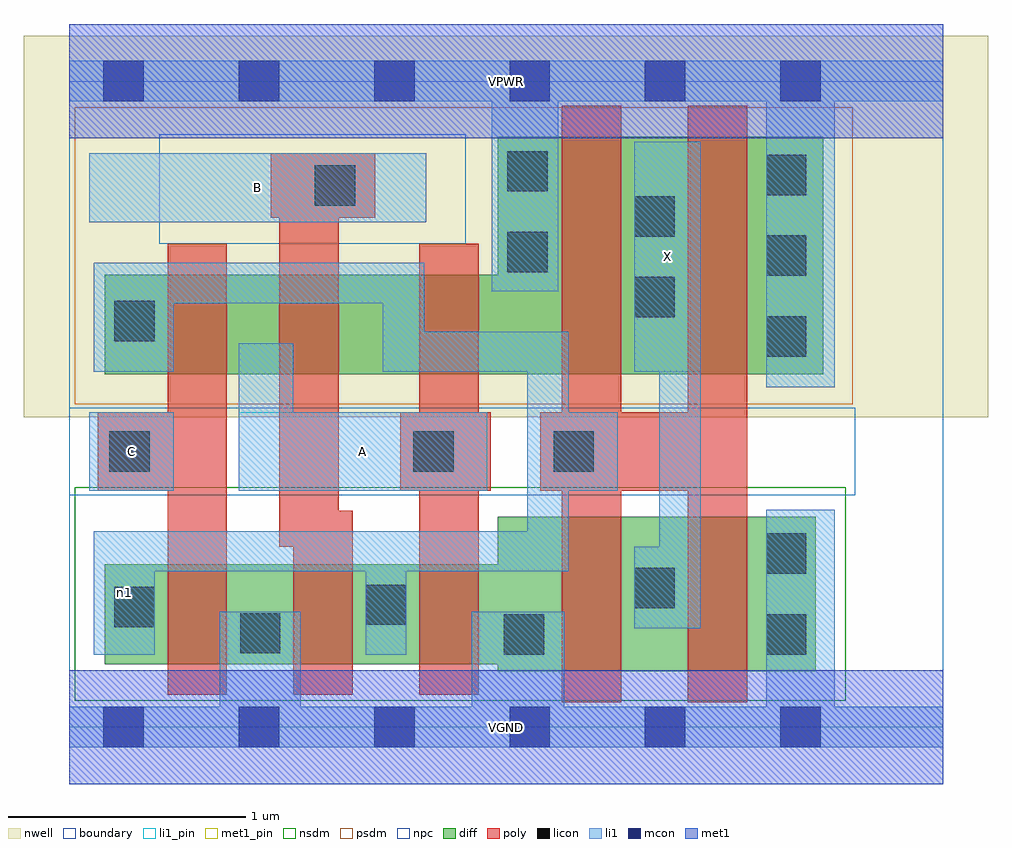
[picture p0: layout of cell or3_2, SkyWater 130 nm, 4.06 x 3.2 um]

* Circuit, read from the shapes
.subckt or3_2 A B C VGND VPWR X n1
XM1 VGND C n1 VSUBS sky130_fd_pr__nfet_01v8 w=0.42 l=0.25
XM2 n1 B VGND VSUBS sky130_fd_pr__nfet_01v8 w=0.42 l=0.25
XM3 VGND A n1 VSUBS sky130_fd_pr__nfet_01v8 w=0.42 l=0.25
XM4 X n1 VGND VSUBS sky130_fd_pr__nfet_01v8 w=0.65 l=0.25 m=2
XM5 n2 C n1 n3 sky130_fd_pr__pfet_01v8 w=0.42 l=0.25
XM6 n4 B n2 n3 sky130_fd_pr__pfet_01v8 w=0.42 l=0.25
XM7 VPWR A n4 n3 sky130_fd_pr__pfet_01v8 w=0.42 l=0.25
XM8 X n1 VPWR n3 sky130_fd_pr__pfet_01v8 w=1 l=0.25 m=2
.ends

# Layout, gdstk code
import gdstk
lib = gdstk.Library(unit=1e-6, precision=1e-09)
def R(c, l, rs):  # rectangles x0, y0, x1, y1
    for r in rs: c.add(gdstk.rectangle(r[:2], r[2:], *l))
def A(c, l, x, y, w, h, nx, ny, dx, dy):  # array of equal rectangles
    R(c, l, [(x+i*dx, y+j*dy, x+i*dx+w, y+j*dy+h) for i in range(nx) for j in range(ny)])
nwell = (64, 20)
diff = (65, 20)
poly = (66, 20)
licon = (66, 44)
li1_pin = (67, 16)
li1 = (67, 20)
mcon = (67, 44)
met1_pin = (68, 16)
met1 = (68, 20)
nsdm = (93, 44)
psdm = (94, 20)
npc = (95, 20)
boundary = (235, 4)

or3_2 = lib.new_cell('or3_2')
R(or3_2, nwell, [(-0.19,1.305,3.87,2.91), (0,1.305,3.68,2.91)])
R(or3_2, diff, [(1.805,0.235,3.145,0.885), (0.15,0.265,3.145,0.685), (0.15,1.485,3.175,1.905), (1.805,1.485,3.175,2.485)])
R(or3_2, poly, [(2.075,0.105,2.325,2.615), (2.605,0.105,2.855,2.615), (0.415,0.135,0.665,2.035), (0.945,0.135,1.195,0.91), (1.475,0.135,1.725,2.035), (0.885,0.76,1.135,2.415), (0.12,0.995,0.665,1.325), (1.395,0.995,1.775,1.325), (1.985,0.995,2.855,1.325), (0.85,2.145,1.29,2.415)])
A(or3_2, licon, 2.935, 1.56, 0.17, 0.17, 1, 3, 0, 0.34)
R(or3_2, licon, [(1.83,0.305,2,0.475), (2.935,0.305,3.105,0.475), (0.72,0.31,0.89,0.48), (0.19,0.42,0.36,0.59), (1.25,0.43,1.42,0.6), (2.38,0.5,2.55,0.67), (2.935,0.645,3.105,0.815), (0.17,1.075,0.34,1.245), (1.45,1.075,1.62,1.245), (2.04,1.075,2.21,1.245), (0.19,1.625,0.36,1.795), (2.38,1.725,2.55,1.895), (1.845,1.915,2.015,2.085), (2.38,2.065,2.55,2.235), (1.035,2.195,1.205,2.365), (1.845,2.255,2.015,2.425)])
R(or3_2, li1_pin, [(0.085,0.995,0.44,1.325), (0.715,0.995,1.76,1.325), (2.38,1.495,2.66,2.465), (0.085,2.125,1.505,2.415)])
R(or3_2, li1, [(0,-0.085,3.68,0.085), (0.635,-0.085,0.975,0.485), (1.695,-0.085,2.085,0.485), (2.935,-0.085,3.225,0.915), (0.105,0.305,0.36,0.825), (1.25,0.305,1.42,0.825), (2.38,0.415,2.66,0.76), (2.485,0.415,2.66,2.465), (0.105,0.655,2.105,0.825), (1.93,0.655,2.105,1.665), (0.085,0.995,0.44,1.325), (0.715,0.995,1.76,1.325), (0.715,0.995,0.945,1.615), (1.93,0.995,2.31,1.325), (2.935,1.43,3.225,2.805), (0.105,1.495,0.44,1.955), (1.32,1.495,2.105,1.665), (1.32,1.495,1.495,1.955), (2.38,1.495,2.66,2.465), (0.105,1.785,1.495,1.955), (1.78,1.835,2.06,2.805), (0.085,2.125,1.505,2.415), (0,2.635,3.68,2.805)])
A(or3_2, mcon, 0.145, -0.085, 0.17, 0.17, 6, 2, 0.57, 2.72)
R(or3_2, met1_pin, [(0,-0.24,3.68,0.24), (0,2.48,3.68,2.96)])
R(or3_2, met1, [(0,-0.24,3.68,0.24), (0,2.48,3.68,2.96)])
R(or3_2, nsdm, [(0.025,0.11,3.27,1.01)])
R(or3_2, psdm, [(0.025,1.36,3.3,2.61)])
R(or3_2, npc, [(0,0.975,3.31,1.345), (0.38,2.035,1.67,2.495)])
R(or3_2, boundary, [(0,0,3.68,2.72)])
or3_2.add(gdstk.Label('A', (1.237,1.16), layer=67, texttype=5))
or3_2.add(gdstk.Label('B', (0.795,2.27), layer=67, texttype=5))
or3_2.add(gdstk.Label('C', (0.262,1.16), layer=67, texttype=5))
or3_2.add(gdstk.Label('X', (2.52,1.98), layer=67, texttype=5))
or3_2.add(gdstk.Label('n1', (0.232,0.565), layer=67, texttype=5))
or3_2.add(gdstk.Label('VPWR', (1.84,2.72), layer=68, texttype=5))
or3_2.add(gdstk.Label('VGND', (1.84,0), layer=68, texttype=5))
or3_2.add(gdstk.Label('A', (1.237,1.16), layer=67, texttype=16))
or3_2.add(gdstk.Label('B', (0.795,2.27), layer=67, texttype=16))
or3_2.add(gdstk.Label('C', (0.262,1.16), layer=67, texttype=16))
or3_2.add(gdstk.Label('X', (2.52,1.98), layer=67, texttype=16))
or3_2.add(gdstk.Label('VPWR', (1.84,2.72), layer=68, texttype=16))
or3_2.add(gdstk.Label('VGND', (1.84,0), layer=68, texttype=16))

lib.write_gds('or3_2.gds')
